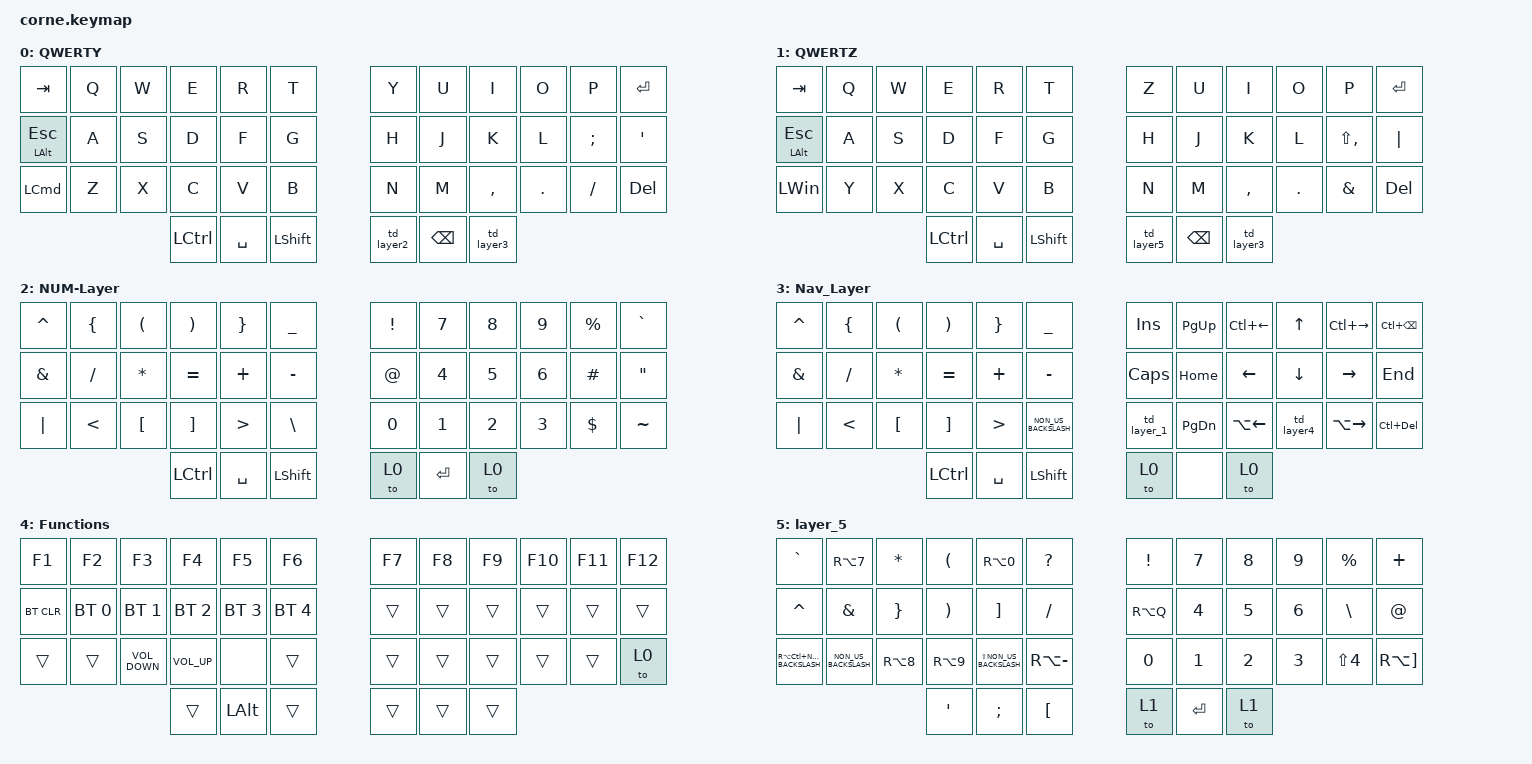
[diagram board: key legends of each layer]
/*
 * Copyright (c) 2020 The ZMK Contributors
 *
 * SPDX-License-Identifier: MIT
 */

#include <behaviors.dtsi>
#include <dt-bindings/zmk/bt.h>
#include <dt-bindings/zmk/keys.h>

/ {
    combos { compatible = "zmk,combos"; };

    behaviors {
        td_layer_1: td_layer_1 {
            compatible = "zmk,behavior-tap-dance";
            label = "TD_LAYER_1";
            #binding-cells = <0>;
            bindings = <&mo 1>, <&to 1>;
        };

        td_layer2: td_layer2 {
            compatible = "zmk,behavior-tap-dance";
            label = "TD_LAYER2";
            #binding-cells = <0>;
            bindings = <&mo 2>, <&to 2>;
        };

        td_layer3: td_layer3 {
            compatible = "zmk,behavior-tap-dance";
            label = "TD_LAYER3";
            #binding-cells = <0>;
            bindings = <&mo 3>, <&to 3>;
        };

        td_layer4: td_layer4 {
            compatible = "zmk,behavior-tap-dance";
            label = "TD_LAYER4";
            #binding-cells = <0>;
            bindings = <&mo 4>, <&to 4>;
        };

        td_layer5: td_layer5 {
            compatible = "zmk,behavior-tap-dance";
            label = "TD_LAYER5";
            #binding-cells = <0>;
            bindings = <&mo 5>, <&to 5>;
        };
    };

    keymap {
        compatible = "zmk,keymap";

        QWERTY {
            bindings = <
&kp TAB           &kp Q  &kp W  &kp E      &kp R      &kp T        &kp Y       &kp U          &kp I       &kp O    &kp P     &kp ENTER
&mt LEFT_ALT ESC  &kp A  &kp S  &kp D      &kp F      &kp G        &kp H       &kp J          &kp K       &kp L    &kp SEMI  &kp SQT
&kp LCMD          &kp Z  &kp X  &kp C      &kp V      &kp B        &kp N       &kp M          &kp COMMA   &kp DOT  &kp FSLH  &kp DEL
                                &kp LCTRL  &kp SPACE  &kp LSHFT    &td_layer2  &kp BACKSPACE  &td_layer3
            >;
        };

        QWERTZ {
            // -----------------------------------------------------------------------------------------
            // |  TAB |  Q  |  W  |  E  |  R  |  T  |   |  Y  |  U   |  I  |  O  |  P  | BKSP |
            // | CTRL |  A  |  S  |  D  |  F  |  G  |   |  H  |  J   |  K  |  L  |  ;  |  '   |
            // | SHFT |  Z  |  X  |  C  |  V  |  B  |   |  N  |  M   |  ,  |  .  |  /  | ESC  |
            //                    | GUI | LWR | SPC |   | ENT | RSE  | ALT |

            bindings = <
&kp TAB       &kp Q  &kp W  &kp E      &kp R      &kp T        &kp Z       &kp U          &kp I       &kp O    &kp P          &kp ENTER
&mt LALT ESC  &kp A  &kp S  &kp D      &kp F      &kp G        &kp H       &kp J          &kp K       &kp L    &kp LS(COMMA)  &kp PIPE
&kp LEFT_WIN  &kp Y  &kp X  &kp C      &kp V      &kp B        &kp N       &kp M          &kp COMMA   &kp DOT  &kp AMPERSAND  &kp DEL
                            &kp LCTRL  &kp SPACE  &kp LSHFT    &td_layer5  &kp BACKSPACE  &td_layer3
            >;
        };

        NUM-Layer {
            // -----------------------------------------------------------------------------------------
            // |  TAB |  1  |  2  |  3  |  4  |  5  |   |  6  |  7  |  8  |  9  |  0  | BKSP |
            // | BTCLR| BT1 | BT2 | BT3 | BT4 | BT5 |   | LFT | DWN |  UP | RGT |     |      |
            // | SHFT |     |     |     |     |     |   |     |     |     |     |     |      |
            //                    | GUI |     | SPC |   | ENT |     | ALT |

            bindings = <
&kp CARET  &kp LEFT_BRACE  &kp LEFT_PARENTHESIS  &kp RIGHT_PARENTHESIS  &kp RIGHT_BRACE   &kp UNDER        &kp EXCL      &kp N7        &kp N8        &kp N9        &kp PERCENT  &kp GRAVE
&kp AMPS   &kp SLASH       &kp ASTRK             &kp EQUAL              &kp PLUS          &kp MINUS        &kp AT        &kp NUMBER_4  &kp NUMBER_5  &kp NUMBER_6  &kp HASH     &kp DOUBLE_QUOTES
&kp PIPE   &kp LESS_THAN   &kp LEFT_BRACKET      &kp RIGHT_BRACKET      &kp GREATER_THAN  &kp BACKSLASH    &kp NUMBER_0  &kp NUMBER_1  &kp NUMBER_2  &kp NUMBER_3  &kp DOLLAR   &kp TILDE
                                                 &kp LCTRL              &kp SPACE         &kp LSHFT        &to 0         &kp ENTER     &to 0
            >;
        };

        Nav_Layer {
            // -----------------------------------------------------------------------------------------
            // |  TAB |  !  |  @  |  #  |  $  |  %  |   |  ^  |  &  |  *  |  (  |  )  | BKSP |
            // | CTRL |     |     |     |     |     |   |  -  |  =  |  [  |  ]  |  \  |  `   |
            // | SHFT |     |     |     |     |     |   |  _  |  +  |  {  |  }  | "|" |  ~   |
            //                    | GUI |     | SPC |   | ENT |     | ALT |

            bindings = <
&kp CARET  &kp LEFT_BRACE  &kp LEFT_PARENTHESIS  &kp RIGHT_PARENTHESIS  &kp RIGHT_BRACE   &kp UNDER               &kp INSERT   &kp PG_UP      &kp LC(LEFT_ARROW)  &kp UP_ARROW    &kp LC(RIGHT)  &kp LC(BACKSPACE)
&kp AMPS   &kp SLASH       &kp ASTRK             &kp EQUAL              &kp PLUS          &kp MINUS               &kp CAPS     &kp HOME       &kp LEFT_ARROW      &kp DOWN_ARROW  &kp RIGHT      &kp END
&kp PIPE   &kp LESS_THAN   &kp LEFT_BRACKET      &kp RIGHT_BRACKET      &kp GREATER_THAN  &kp NON_US_BACKSLASH    &td_layer_1  &kp PAGE_DOWN  &kp LA(LEFT)        &td_layer4      &kp LA(RIGHT)  &kp LC(DEL)
                                                 &kp LCTRL              &kp SPACE         &kp LSHIFT              &to 0        &none          &to 0
            >;
        };

        Functions {
            bindings = <
&kp F1      &kp F2        &kp F3             &kp F4           &kp F5        &kp F6          &kp F7  &kp F8  &kp F9  &kp F10  &kp F11  &kp F12
&bt BT_CLR  &bt BT_SEL 0  &bt BT_SEL 1       &bt BT_SEL 2     &bt BT_SEL 3  &bt BT_SEL 4    &trans  &trans  &trans  &trans   &trans   &trans
&trans      &trans        &kp C_VOLUME_DOWN  &kp C_VOLUME_UP  &none         &trans          &trans  &trans  &trans  &trans   &trans   &to 0
                                             &trans           &kp LEFT_ALT  &trans          &trans  &trans  &trans
            >;
        };

        layer_5 {
            bindings = <
&kp GRAVE                     &kp RA(NUMBER_7)      &kp ASTERISK      &kp LEFT_PARENTHESIS   &kp RA(NUMBER_0)          &kp QUESTION        &kp EXCLAMATION  &kp N7     &kp N8  &kp N9  &kp PERCENT       &kp PLUS
&kp CARET                     &kp AMPS              &kp RIGHT_BRACE   &kp RIGHT_PARENTHESIS  &kp RIGHT_BRACKET         &kp SLASH           &kp RA(Q)        &kp N4     &kp N5  &kp N6  &kp BACKSLASH     &kp AT
&kp RA(LC(NON_US_BACKSLASH))  &kp NON_US_BACKSLASH  &kp RA(NUMBER_8)  &kp RA(NUMBER_9)       &kp LS(NON_US_BACKSLASH)  &kp RA(MINUS)       &kp N0           &kp N1     &kp N2  &kp N3  &kp LS(NUMBER_4)  &kp RA(RIGHT_BRACKET)
                                                                      &kp SQT                &kp SEMICOLON             &kp LEFT_BRACKET    &to 1            &kp ENTER  &to 1
            >;
        };
    };
};
